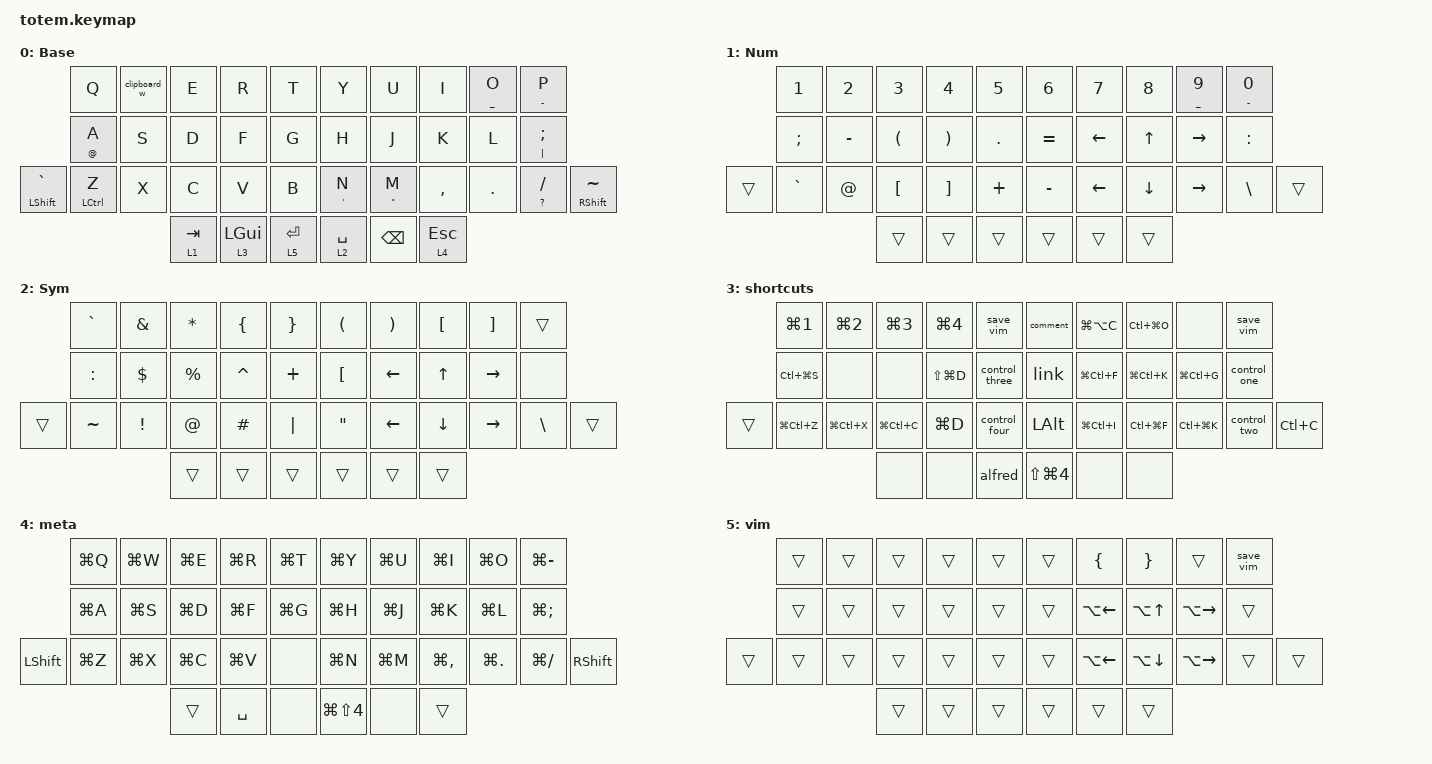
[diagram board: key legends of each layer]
//
//                                                        ▀▀▀▀▀     ▀▀▀▀▀          ▀▀█▀▀
//                                                        ▄▀▀▀▄  ▄  ▄▀▀▀▄  ▄  ▄▀▀▀▄  █  ▄▀▀▀▄
//                                                        █   █  █  █   █  █  █   █  █  █   █
//                                                         ▀▀▀   █   ▀▀▀   █   ▀▀▀   ▀   ▀▀▀
//                                                               █      ▄▄▄█▄▄▄    █   █  
//                                                               ▀      █  █  █     █▄█
//                                                             ▀▀▀▀▀    █  █  █      ▀
//                                                                      ▀  ▀  ▀
//
// ▄▄▄▄▄▄▄▄▄▄▄▄▄▄▄▄▄▄▄▄▄▄▄▄▄▄▄▄▄▄▄▄▄▄▄▄▄▄▄▄▄▄▄▄▄▄▄▄▄▄▄▄▄▄▄▄▄▄▄▄▄▄▄▄▄▄▄▄▄▄▄▄▄▄▄▄▄▄▄▄▄▄▄▄▄▄▄▄▄▄▄▄▄▄▄▄▄▄▄▄▄▄▄▄▄▄▄▄▄▄▄▄▄▄▄▄▄▄▄▄▄▄▄▄▄▄▄▄▄▄▄▄▄▄▄▄▄▄▄▄▄▄▄▄▄▄▄▄▄

#include <behaviors.dtsi>
#include <dt-bindings/zmk/keys.h>

#define Base        0
#define Sym         1
#define Num         2

/ {
    behaviors {
        layer_1_layer_2: layer_1_layer_2 {
            compatible = "zmk,behavior-tap-dance";
            label = "LAYER_1_LAYER_2";
            #binding-cells = <0>;
            bindings = <&to 2>, <&to 1>;
        };

        sqt_to_0: sqt_to_0 {
            compatible = "zmk,behavior-tap-dance";
            label = "SQT_TO_0";
            #binding-cells = <0>;
            bindings = <&kp SQT>, <&to 0>;
        };

        sl_sk: sl_sk {
            compatible = "zmk,behavior-hold-tap";
            label = "SL_SK";
            bindings = <&sk>, <&sl>;

            #binding-cells = <2>;
            tapping-term-ms = <200>;
            flavor = "balanced";
        };

        kp_sk: kp_sk {
            compatible = "zmk,behavior-hold-tap";
            label = "KP_SK";
            bindings = <&sk>, <&kp>;

            #binding-cells = <2>;
            tapping-term-ms = <250>;
            flavor = "balanced";
        };

        kp_kp: kp_kp {
            compatible = "zmk,behavior-hold-tap";
            label = "KP_KP";
            bindings = <&kp>, <&kp>;

            #binding-cells = <2>;
            tapping-term-ms = <250>;
            flavor = "tap-preferred";
            hold-trigger-on-release;
        };

        kp_comment: kp_comment {
            compatible = "zmk,behavior-hold-tap";
            label = "KP_COMMENT";
            bindings = <&comment>, <&kp>;

            #binding-cells = <2>;
            flavor = "tap-preferred";
            tapping-term-ms = <200>;
        };

        kp_link: kp_link {
            compatible = "zmk,behavior-hold-tap";
            label = "KP_LINK";
            bindings = <&link>, <&kp>;

            #binding-cells = <2>;
            tapping-term-ms = <200>;
            flavor = "tap-preferred";
        };

        kp_caps_word: kp_caps_word {
            compatible = "zmk,behavior-hold-tap";
            label = "KP_CAPS_WORD";
            bindings = <&caps_word>, <&kp>;

            #binding-cells = <2>;
            flavor = "tap-preferred";
            tapping-term-ms = <200>;
        };

        kp_lt: kp_lt {
            compatible = "zmk,behavior-hold-tap";
            label = "KP_LT";
            bindings = <&lt>, <&kp>;

            #binding-cells = <2>;
            tapping-term-ms = <300>;
            flavor = "tap-preferred";
        };

        sk_mo: sk_mo {
            compatible = "zmk,behavior-hold-tap";
            label = "SK_MO";
            bindings = <&mo>, <&sk>;

            #binding-cells = <2>;
            tapping-term-ms = <150>;
        };

        alfred_q: alfred_q {
            compatible = "zmk,behavior-tap-dance";
            label = "ALFRED_Q";
            #binding-cells = <0>;
            bindings = <&kp Q>, <&alfred>;

            tapping-term-ms = <200>;
        };

        clipboard_w: clipboard_w {
            compatible = "zmk,behavior-tap-dance";
            label = "CLIPBOARD_W";
            #binding-cells = <0>;
            bindings = <&kp W>, <&kp LA(LG(C))>;
        };
    };

    macros {
        alfred: alfred {
            compatible = "zmk,behavior-macro";
            #binding-cells = <0>;
            bindings = <&kp LEFT_GUI &kp LGUI>;
            label = "ALFRED";
            wait-ms = <1>;
            tap-ms = <40>;
        };

        comment: comment {
            compatible = "zmk,behavior-macro";
            #binding-cells = <0>;
            bindings = <&kp GRAVE &kp GRAVE &kp GRAVE>;
            label = "COMMENT";
            wait-ms = <1>;
            tap-ms = <1>;
        };

        link: link {
            compatible = "zmk,behavior-macro";
            #binding-cells = <0>;
            bindings = <&kp LBKT &kp RIGHT_BRACKET &kp LPAR &kp RPAR>;
            label = "LINK";
            wait-ms = <1>;
            tap-ms = <1>;
        };

        save_vim: save_vim {
            compatible = "zmk,behavior-macro";
            #binding-cells = <0>;
            bindings = <&kp COLON &kp W &kp RET>;
            label = "SAVE_VIM";
        };

        control_one: control_one {
            compatible = "zmk,behavior-macro";
            #binding-cells = <0>;
            bindings = <&kp LS(B) &kp AT &kp N &kp T &kp AT &kp R &kp LS(G) &kp N3 &kp B &kp AT &kp N &kp G &kp N2 &kp N0 &kp N2 &kp N4 &kp ENTER>;
            label = "CTRONE";
        };

        control_two: control_two {
            compatible = "zmk,behavior-macro";
            #binding-cells = <0>;
            bindings = <&kp LS(B) &kp AT &kp N &kp T &kp AT &kp R &kp LS(G) &kp N3 &kp B &kp AT &kp N &kp G &kp N2 &kp N0 &kp N2 &kp NUMBER_3 &kp ENTER>;
            label = "CTRTWO";
        };

        control_three: control_three {
            compatible = "zmk,behavior-macro";
            #binding-cells = <0>;
            bindings = <&kp LS(T) &kp R &kp N0 &kp S &kp V &kp AT &kp L &kp D &kp N0 &kp N7>;
            label = "CTRTHREE";
        };

        control_four: control_four {
            compatible = "zmk,behavior-macro";
            #binding-cells = <0>;
            bindings = <&kp M &kp P &kp T &kp I &kp N0 &kp N6 &kp N0 &kp N9 &kp N1 &kp N3>;
            label = "CTRFOUR";
        };
    };

    combos {
        compatible = "zmk,combos";

        alt_tab {
            bindings = <&kp LG(TAB)>;
            key-positions = <0 34>;
        };

        enter {
            bindings = <&kp ENTER>;
            key-positions = <33 32>;
        };

        tab_aine {
            bindings = <&kp TAB>;
            key-positions = <4 14>;
        };

        enter-2 {
            bindings = <&kp ENTER>;
            key-positions = <36 37>;
        };

        backspace {
            bindings = <&kp BACKSPACE>;
            key-positions = <24 13>;
        };

        backspace-2 {
            bindings = <&kp BACKSPACE>;
            key-positions = <16 27>;
        };

        enter-3 {
            bindings = <&kp ENTER>;
            key-positions = <33 34>;
        };

        enter-4 {
            bindings = <&kp ENTER>;
            key-positions = <36 35>;
        };

        shortcuts {
            bindings = <&lt 5 LEFT_SHIFT>;
            key-positions = <10 21>;
            timeout-ms = <5>;
            require-prior-idle-ms = <20>;
        };

        caps {
            bindings = <&kp CAPSLOCK>;
            key-positions = <6 7>;
        };

        esc {
            bindings = <&kp ESCAPE>;
            key-positions = <7 8>;
        };
    };

    keymap {
        compatible = "zmk,keymap";

        Base {
            label = "Base";
            bindings = <
                         &kp Q           &clipboard_w  &kp E      &kp R           &kp T          &kp Y         &kp U                   &kp I         &kp_kp UNDER O  &kp_kp MINUS P
                         &kp_kp AT A     &kp S         &kp D      &kp F           &kp G          &kp H         &kp J                   &kp K         &kp L           &kp_kp PIPE SEMICOLON
&kp_sk LEFT_SHIFT GRAVE  &kp_kp LCTRL Z  &kp X         &kp C      &kp V           &kp B          &kp_kp SQT N  &kp_kp DOUBLE_QUOTES M  &kp COMMA     &kp DOT         &kp_kp QUESTION SLASH  &kp_sk RIGHT_SHIFT TILDE
                                                       &lt 1 TAB  &lt 3 LEFT_GUI  &lt 5 ENTER    &lt 2 SPACE   &kp BACKSPACE           &lt 4 ESCAPE
            >;
        };

        Num {
            label = "Num";
            bindings = <
        &kp N1         &kp N2     &kp N3                &kp N4                 &kp N5      &kp N6     &kp N7    &kp N8        &kp_kp UNDERSCORE NUMBER_9  &kp_kp MINUS N0
        &kp SEMICOLON  &kp MINUS  &kp LEFT_PARENTHESIS  &kp RIGHT_PARENTHESIS  &kp DOT     &kp EQUAL  &kp LEFT  &kp UP_ARROW  &kp RIGHT                   &kp COLON
&trans  &kp GRAVE      &kp AT     &kp LBKT              &kp RBKT               &kp PLUS    &kp MINUS  &kp LEFT  &kp DOWN      &kp RIGHT                   &kp BACKSLASH    &trans
                                  &trans                &trans                 &trans      &trans     &trans    &trans
            >;
        };

        Sym {
            label = "Sym";
            bindings = <
        &kp GRAVE  &kp AMPERSAND  &kp ASTERISK  &kp LEFT_BRACE  &kp RIGHT_BRACE    &kp LEFT_PARENTHESIS  &kp RIGHT_PARENTHESIS  &kp LEFT_BRACKET  &kp RIGHT_BRACKET  &trans
        &kp COLON  &kp DOLLAR     &kp PERCENT   &kp CARET       &kp PLUS           &kp LEFT_BRACKET      &kp LEFT               &kp UP_ARROW      &kp RIGHT          &none
&trans  &kp TILDE  &kp EXCL       &kp AT        &kp HASH        &kp PIPE           &kp DQT               &kp LEFT_ARROW         &kp DOWN_ARROW    &kp RIGHT          &kp BACKSLASH  &trans
                                  &trans        &trans          &trans             &trans                &trans                 &trans
            >;
        };

        shortcuts {
            bindings = <
        &kp LG(NUMBER_1)  &kp LG(NUMBER_2)  &kp LG(NUMBER_3)  &kp LG(NUMBER_4)  &save_vim         &comment              &kp LG(LA(C))  &kp LC(LG(O))  &none          &save_vim
        &kp LC(LG(S))     &none             &none             &kp LS(LG(D))     &control_three    &link                 &kp LG(LC(F))  &kp LG(LC(K))  &kp LG(LC(G))  &control_one
&trans  &kp LG(LC(Z))     &kp LG(LC(X))     &kp LG(LC(C))     &kp LG(D)         &control_four     &kp LALT              &kp LG(LC(I))  &kp LC(LG(F))  &kp LC(LG(K))  &control_two  &kp LC(C)
                                            &none             &none             &alfred           &kp LS(LG(NUMBER_4))  &none          &none
            >;
        };

        meta {
            label = "meta";
            bindings = <
                &kp LG(Q)  &kp LG(W)  &kp LG(E)  &kp LG(R)  &kp LG(T)    &kp LG(Y)             &kp LG(U)  &kp LG(I)      &kp LG(O)    &kp LG(MINUS)
                &kp LG(A)  &kp LG(S)  &kp LG(D)  &kp LG(F)  &kp LG(G)    &kp LG(H)             &kp LG(J)  &kp LG(K)      &kp LG(L)    &kp LG(SEMICOLON)
&kp LEFT_SHIFT  &kp LG(Z)  &kp LG(X)  &kp LG(C)  &kp LG(V)  &none        &kp LG(N)             &kp LG(M)  &kp LG(COMMA)  &kp LG(DOT)  &kp LG(SLASH)      &kp RIGHT_SHIFT
                                      &trans     &kp SPACE  &none        &kp LG(LS(NUMBER_4))  &none      &trans
            >;
        };

        vim {
            bindings = <
        &trans  &trans  &trans  &trans  &trans    &trans  &kp LEFT_BRACE      &kp RIGHT_BRACE  &trans         &save_vim
        &trans  &trans  &trans  &trans  &trans    &trans  &kp LA(LEFT)        &kp LA(UP)       &kp LA(RIGHT)  &trans
&trans  &trans  &trans  &trans  &trans  &trans    &trans  &kp LA(LEFT_ARROW)  &kp LA(DOWN)     &kp LA(RIGHT)  &trans     &trans
                        &trans  &trans  &trans    &trans  &trans              &trans
            >;
        };
    };
};
